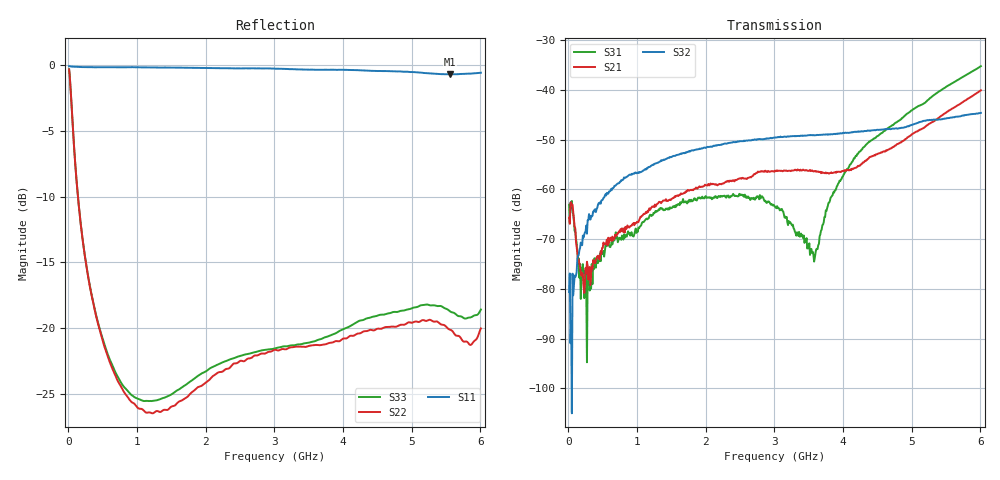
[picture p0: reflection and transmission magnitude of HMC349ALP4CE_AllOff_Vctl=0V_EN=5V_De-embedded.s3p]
! Device:	HMC349ALP4CE
! Description:	SOI MMIC SPDT Non-Reflective Switch
! Package:	LP4CE 16 pin 4x4 mm QFN Plastic Package
! Frequency:	DC -  4 GHz
! Ports:
! RFC = Port 1
! RF1 = Port 2
! RF2 = Port 3
! State: All Off
! Supply Voltage:
! Vdd = +5 V
! Control Voltages:
! Vctl  = 0 V
! EN  = +5 V
! Data:	Data was collected using a calibrated network analyzer with AFR software.
!	Fixtures were calculated using AFR and fixturing was applied to collect
!	this Deembedded  S Parameter data of HMC349ALP4CE.
! Note:	Analog Devices supplies this data as a sample of measured data at the package pin
!	for this product.  Your particular data for this product may vary.
!	Data was taken at 25 degrees C.
!	Analog Devices reserves the right to change this data at anytime.
# Hz S  dB  R 50
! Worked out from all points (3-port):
!   601 points, 10 MHz to 6.01 GHz, reference 50 ohm
!   strongest paths, dB at 10 MHz, 1.51 GHz, 3.01 GHz, 4.51 GHz, 6.01 GHz:
!     S32: -80.6, -53.4, -49.5, -48.0, -44.6
!     S21: -65.7, -61.9, -56.2, -52.8, -40.1
!     S31: -63.1, -63.7, -63.5, -49.2, -35.2
!   lowest |S11| = -0.7 dB at 5.56 GHz (marker M1), VSWR 25.55, Z = 2.09 - j12.9 ohm
!   |S11| at or under -10 dB: nowhere
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1e7  -0.06 -0.3  -73.30 14.6  -64.38 61.3
     -65.66 73.3  -0.31 -11.9  -75.65 -62.9
     -63.07 75.0  -80.62 17.1  -0.29 -11.8
1e8  -0.10 -2.6  -68.85 -41.0  -68.33 -44.3
     -67.82 -43.1  -7.55 -60.8  -79.18 114.8
     -68.39 -49.8  -77.63 116.0  -7.55 -60.6
2.6e8  -0.13 -6.3  -75.46 6.5  -82.57 12.5
       -76.88 30.0  -15.22 -69.0  -69.14 98.1
       -80.21 -10.7  -67.26 99.7  -15.19 -68.6
8.8e8  -0.14 -21.0  -67.18 73.1  -68.46 63.4
       -67.54 74.9  -25.37 -39.0  -57.14 85.6
       -68.89 66.9  -57.15 85.6  -24.89 -39.4
1.92e9  -0.20 -47.5  -59.66 86.2  -61.86 77.5
        -59.51 86.0  -24.43 11.7  -51.81 79.6
        -61.79 78.6  -51.85 79.2  -23.52 11.0
3.01e9  -0.25 -76.6  -56.30 87.7  -63.82 72.1
        -56.23 88.6  -21.64 30.0  -49.60 65.9
        -63.47 72.1  -49.55 66.0  -21.54 27.3
3.6e9  -0.33 -93.4  -56.34 91.7  -72.72 166.3
       -56.28 92.3  -21.28 28.7  -49.05 53.9
       -72.77 161.0  -49.09 53.7  -20.97 22.4
4.21e9  -0.36 -110.9  -55.28 122.8  -52.88 -159.9
        -55.40 122.0  -20.42 20.4  -48.40 40.5
        -52.85 -159.7  -48.35 40.9  -19.52 14.4
5.56e9  -0.68 -150.9  -44.02 146.2  -38.89 170.6
        -44.00 146.7  -20.12 -1.3  -45.57 6.5
        -38.91 170.5  -45.56 6.8  -18.72 -4.6
6.01e9  -0.56 -163.7  -40.06 141.3  -35.19 157.1
        -40.05 141.3  -20.03 -38.2  -44.56 -4.8
        -35.20 157.2  -44.60 -4.9  -18.58 -36.0
